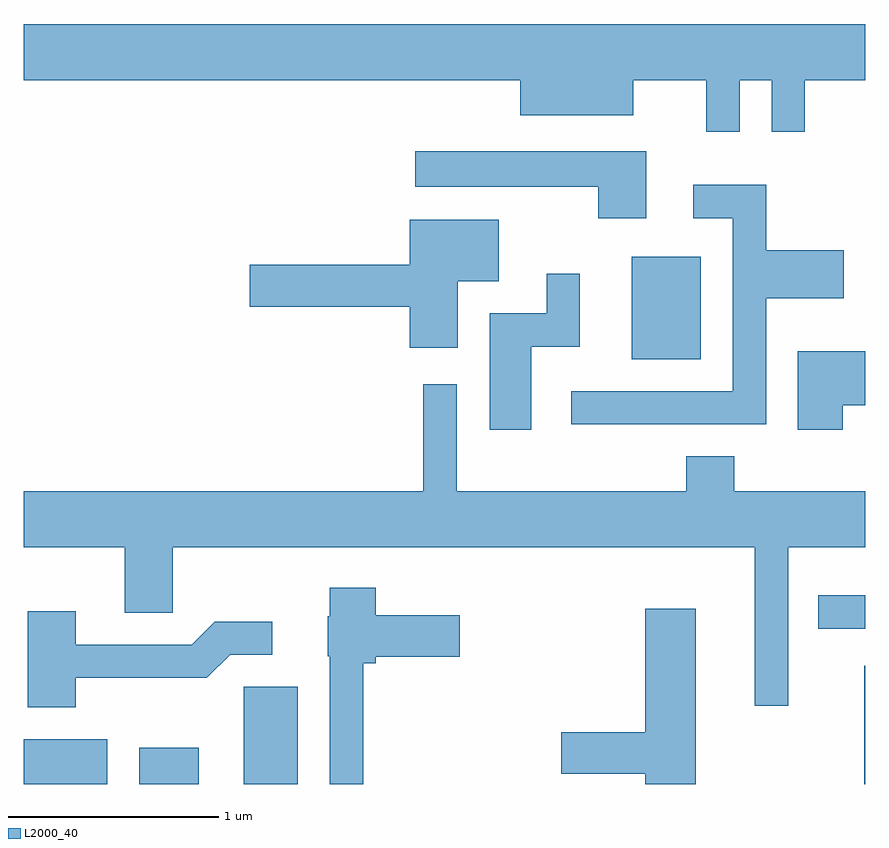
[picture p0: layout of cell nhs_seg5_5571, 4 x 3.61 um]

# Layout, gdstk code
import gdstk
lib = gdstk.Library(unit=1e-6, precision=1e-09)
def R(c, l, rs):  # rectangles x0, y0, x1, y1
    for r in rs: c.add(gdstk.rectangle(r[:2], r[2:], *l))
def P(c, l, *ps):  # polygons
    for p in ps: c.add(gdstk.Polygon(p, *l))
L2000_40 = (2000, 40)

nhs_seg5_5571 = lib.new_cell('nhs_seg5_5571')
R(nhs_seg5_5571, L2000_40, [(349.611,1500.072,350.009,1500.284), (350.161,1500.072,350.444,1500.244), (350.656,1500.072,350.914,1500.534), (353.606,1500.072,353.611,1500.633), (353.388,1500.811,353.611,1500.969), (352.501,1502.091,352.829,1502.579)])
P(nhs_seg5_5571, L2000_40, [(353.014,1503.416),(353.166,1503.416),(353.166,1503.173),(353.324,1503.173),(353.324,1503.416),(353.611,1503.416),(353.611,1503.684),(349.611,1503.684),(349.611,1503.416),(351.971,1503.416),(351.971,1503.251),(352.509,1503.251),(352.509,1503.416),(352.856,1503.416),(352.856,1503.173),(353.014,1503.173)],
  [(352.569,1503.079),(351.473,1503.079),(351.473,1502.911),(352.341,1502.911),(352.341,1502.761),(352.569,1502.761)],
  [(353.139,1502.381),(353.509,1502.381),(353.509,1502.609),(353.139,1502.609),(353.139,1502.919),(352.793,1502.919),(352.793,1502.761),(352.981,1502.761),(352.981,1501.939),(352.213,1501.939),(352.213,1501.781),(353.139,1501.781)],
  [(351.674,1502.461),(351.869,1502.461),(351.869,1502.754),(351.446,1502.754),(351.446,1502.539),(350.686,1502.539),(350.686,1502.341),(351.446,1502.341),(351.446,1502.146),(351.674,1502.146)],
  [(352.024,1502.151),(352.254,1502.151),(352.254,1502.498),(352.096,1502.498),(352.096,1502.309),(351.826,1502.309),(351.826,1501.756),(352.024,1501.756)],
  [(353.504,1501.871),(353.611,1501.871),(353.611,1502.129),(353.291,1502.129),(353.291,1501.756),(353.504,1501.756)],
  [(353.244,1501.196),(353.611,1501.196),(353.611,1501.464),(352.989,1501.464),(352.989,1501.629),(352.761,1501.629),(352.761,1501.464),(351.669,1501.464),(351.669,1501.973),(351.511,1501.973),(351.511,1501.464),(349.611,1501.464),(349.611,1501.196),(350.091,1501.196),(350.091,1500.886),(350.319,1500.886),(350.319,1501.196),(353.086,1501.196),(353.086,1500.443),(353.244,1500.443)],
  [(351.224,1500.646),(351.284,1500.646),(351.284,1500.676),(351.684,1500.676),(351.684,1500.874),(351.284,1500.874),(351.284,1501.004),(351.066,1501.004),(351.066,1500.87),(351.056,1500.87),(351.056,1500.68),(351.066,1500.68),(351.066,1500.072),(351.224,1500.072)],
  [(352.804,1500.904),(352.566,1500.904),(352.566,1500.319),(352.166,1500.319),(352.166,1500.121),(352.566,1500.121),(352.566,1500.072),(352.804,1500.072)],
  [(349.859,1500.576),(350.482,1500.576),(350.592,1500.686),(350.793,1500.686),(350.793,1500.844),(350.519,1500.844),(350.409,1500.734),(349.859,1500.734),(349.859,1500.894),(349.631,1500.894),(349.631,1500.436),(349.859,1500.436)])

lib.write_gds('nhs_seg5_5571.gds')
